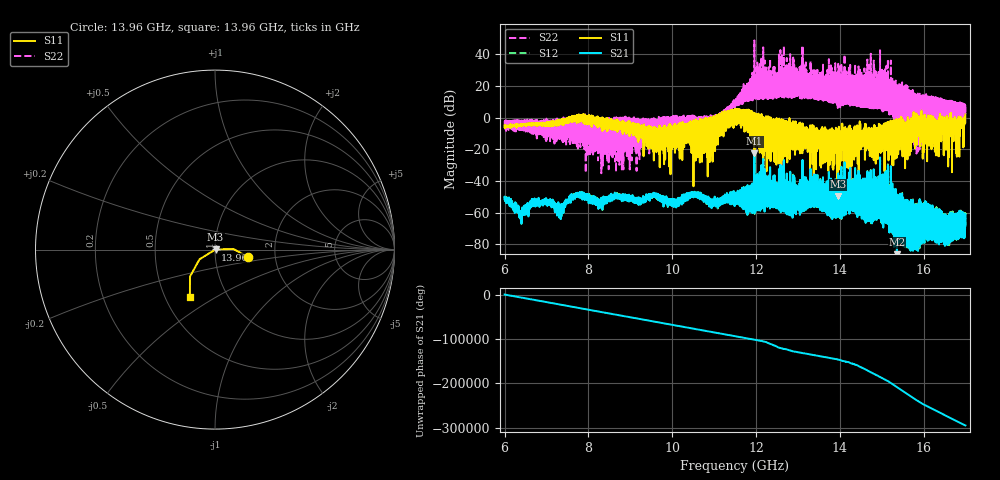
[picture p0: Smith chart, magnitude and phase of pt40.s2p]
#  HZ  S  RI  R  50.00
! Rohde & Schwarz Vector Network Analyzer
! Rohde-Schwarz,ZNA67-2Port,1332450062101215,3.01
! Created: UTC 10/15/2026, 4:26:26 PM
! freq[Hz]  re:S11  im:S11  re:S21  im:S21  re:S12  im:S12  re:S22  im:S22
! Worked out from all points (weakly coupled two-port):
!   11001 points, 6 GHz to 17 GHz, reference 50 ohm
!   highest |S21| = -22.58 dB at 11.96 GHz (marker M1); lowest = -86.7 dB at 15.37 GHz (marker M2)
!   lowest |S11| = -49.7 dB at 13.96 GHz (marker M3), VSWR 1.01, Z = 50.3 + j0.101 ohm
!   |S11| at or under -10 dB: 13.47956 GHz to 13.51912 GHz (39.56 MHz wide, 0.293 % of centre); 13.59817 GHz to 13.64677 GHz (48.6 MHz wide, 0.357 % of centre); 13.77209 GHz to 13.80286 GHz (30.77 MHz wide, 0.223 % of centre) (the widest 3 of 525)
!   |S22| runs from -35.2 to 48.7 dB; largest |S21 - S12| = 0.0046
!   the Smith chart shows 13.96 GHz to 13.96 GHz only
!   S11 on the Smith chart (normalised r, x): 13.96 GHz: 1.45, -0.13; 13.96 GHz: 1.01, +0.00; 13.96 GHz: 0.67, -0.38
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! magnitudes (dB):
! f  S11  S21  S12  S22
! 6 GHz  -5.1  -50.0  -50.0  -6.2
! 6.397 GHz  -4.2  -64.4  -64.3  -7.6
! 6.706 GHz  -4.8  -51.6  -51.6  -1.9
! 7.348 GHz  -3.0  -61.4  -61.3  -1.8
! 7.834 GHz  -0.4  -47.9  -47.8  -5.3
! 8.281 GHz  -5.2  -55.6  -55.7  -1.1
! 9.667 GHz  -12.7  -51.7  -51.9  -3.3
! 10.84 GHz  -11.0  -53.8  -53.8  0.7
! 11.5 GHz  5.3  -52.5  -52.4  8.6
! 11.96 GHz  -28.0  -22.6  -22.2  48.7
! 13.33 GHz  -9.3  -53.7  -53.8  15.6
! 13.96 GHz  -14.4  -43.9  -44.0  23.6
! 13.96 GHz  -49.7  -59.7  -59.3  9.2
! 13.96 GHz  -10.6  -35.2  -35.0  34.0
! 14.3 GHz  -9.0  -56.3  -56.0  8.6
! 14.72 GHz  -15.7  -48.9  -49.2  23.8
! 15.17 GHz  -9.4  -65.4  -65.5  5.2
! 15.37 GHz  -10.0  -86.7  -86.9  -0.3
! 15.8 GHz  -5.6  -57.5  -57.3  11.4
! 16.07 GHz  -4.7  -75.2  -75.1  -9.0
! 16.57 GHz  -0.4  -80.6  -79.0  -4.3
! 17 GHz  2.1  -68.3  -68.3  1.8
